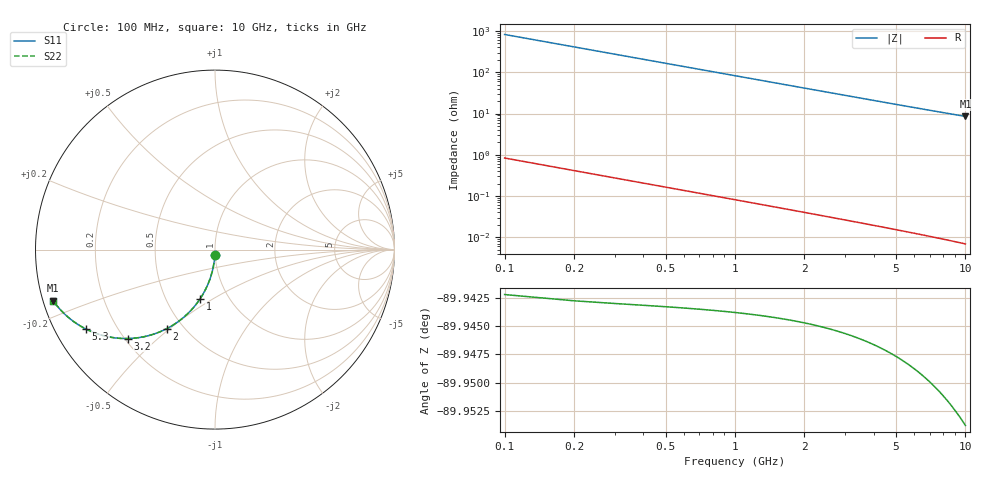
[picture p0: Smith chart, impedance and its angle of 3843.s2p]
# Hz S RI R 50.00
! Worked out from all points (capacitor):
!   100 points, 100 MHz to 10 GHz, reference 50 ohm
!   read as one part in shunt: C = 1.93 pF near 100 MHz
!   lowest |Z| = 8.5 ohm at 10 GHz (marker M1)
!   S11 on the Smith chart (normalised r, x): 100 MHz: 1.00, -0.06; 1 GHz: 0.73, -0.44; 2 GHz: 0.41, -0.49; 3.2 GHz: 0.21, -0.40; 5.3 GHz: 0.09, -0.28; 10 GHz: 0.03, -0.15
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1e8  -0.000878 -0.0301  0.999 -0.0303  0.999 -0.0303  -0.000878 -0.0301
2e8  -0.00364 -0.06  0.9962 -0.0605  0.9962 -0.0605  -0.00364 -0.06
3e8  -0.00819 -0.0897  0.9917 -0.0904  0.9917 -0.0904  -0.00819 -0.0897
4e8  -0.0145 -0.1188  0.9854 -0.1197  0.9854 -0.1197  -0.0145 -0.1188
5e8  -0.0224 -0.1473  0.9774 -0.1484  0.9774 -0.1484  -0.0224 -0.1473
6e8  -0.032 -0.175  0.9679 -0.1764  0.9679 -0.1764  -0.032 -0.175
7e8  -0.043 -0.2018  0.9568 -0.2034  0.9568 -0.2034  -0.043 -0.2018
8e8  -0.0555 -0.2276  0.9444 -0.2295  0.9444 -0.2295  -0.0555 -0.2276
1e9  -0.084 -0.2758  0.9158 -0.2782  0.9158 -0.2782  -0.084 -0.2758
1.2e9  -0.1166 -0.3191  0.8832 -0.322  0.8832 -0.322  -0.1166 -0.3191
1.4e9  -0.1523 -0.3572  0.8476 -0.3605  0.8476 -0.3605  -0.1523 -0.3572
1.8e9  -0.2289 -0.4175  0.7709 -0.4218  0.7709 -0.4218  -0.2289 -0.4175
2e9  -0.2682 -0.4402  0.7317 -0.4449  0.7317 -0.4449  -0.2682 -0.4402
2.6e9  -0.3824 -0.4824  0.6175 -0.4886  0.6175 -0.4886  -0.3824 -0.4824
3.2e9  -0.4839 -0.4954  0.5159 -0.5031  0.5159 -0.5031  -0.4839 -0.4954
3.4e9  -0.5142 -0.4952  0.4856 -0.5033  0.4856 -0.5033  -0.5142 -0.4952
4.2e9  -0.6177 -0.4804  0.3821 -0.4904  0.3821 -0.4904  -0.6177 -0.4804
5.1e9  -0.7045 -0.4496  0.2953 -0.4618  0.2953 -0.4618  -0.7045 -0.4496
5.3e9  -0.7203 -0.4419  0.2795 -0.4547  0.2795 -0.4547  -0.7203 -0.4419
6.7e9  -0.8048 -0.3877  0.195 -0.4038  0.195 -0.4038  -0.8048 -0.3877
8.4e9  -0.8666 -0.329  0.133 -0.3494  0.133 -0.3494  -0.8666 -0.329
1e10  -0.9024 -0.2837  0.0971 -0.3082  0.0971 -0.3082  -0.9024 -0.2837
